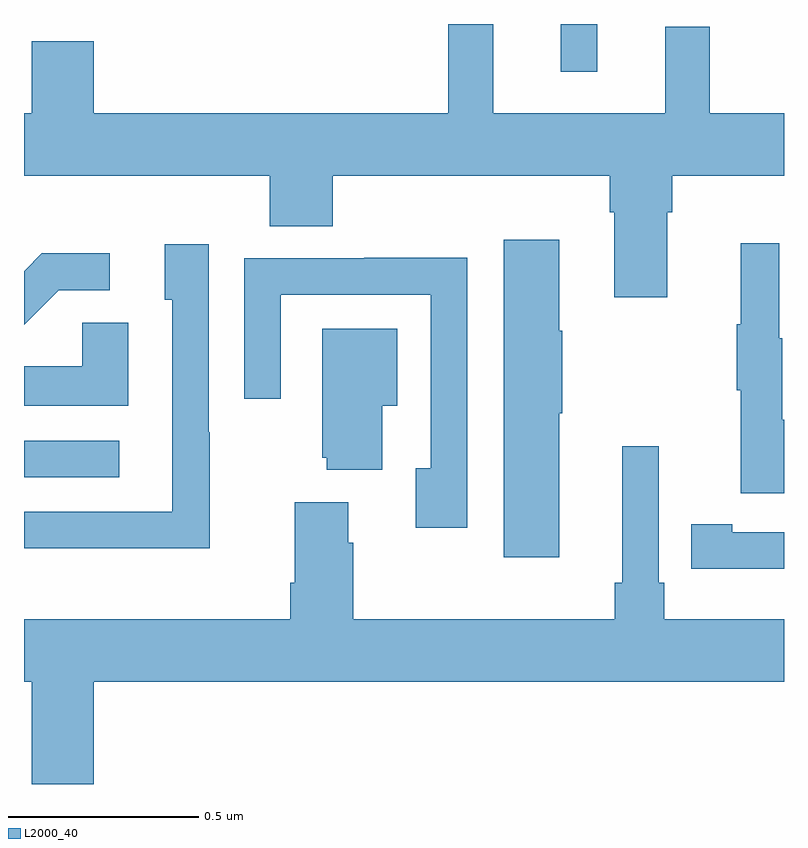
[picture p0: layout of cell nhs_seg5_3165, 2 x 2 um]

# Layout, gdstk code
import gdstk
lib = gdstk.Library(unit=1e-6, precision=1e-09)
def R(c, l, rs):  # rectangles x0, y0, x1, y1
    for r in rs: c.add(gdstk.rectangle(r[:2], r[2:], *l))
def P(c, l, *ps):  # polygons
    for p in ps: c.add(gdstk.Polygon(p, *l))
L2000_40 = (2000, 40)

nhs_seg5_3165 = lib.new_cell('nhs_seg5_3165')
R(nhs_seg5_3165, L2000_40, [(153,882.606,153.25,882.702), (154.412,883.674,154.509,883.799)])
P(nhs_seg5_3165, L2000_40, [(154.693,883.304),(154.706,883.304),(154.706,883.4),(155,883.4),(155,883.564),(154.805,883.564),(154.805,883.792),(154.688,883.792),(154.688,883.564),(154.235,883.564),(154.235,883.798),(154.117,883.798),(154.117,883.564),(153.184,883.564),(153.184,883.753),(153.02,883.753),(153.02,883.564),(153,883.564),(153,883.4),(153.647,883.4),(153.647,883.267),(153.812,883.267),(153.812,883.4),(154.541,883.4),(154.541,883.304),(154.553,883.304),(154.553,883.08),(154.693,883.08)],
  [(154.408,882.775),(154.416,882.775),(154.416,882.992),(154.408,882.992),(154.408,883.231),(154.262,883.231),(154.262,882.396),(154.408,882.396)],
  [(155,882.758),(154.996,882.758),(154.996,882.972),(154.988,882.972),(154.988,883.222),(154.886,883.222),(154.886,883.009),(154.875,883.009),(154.875,882.835),(154.886,882.835),(154.886,882.564),(155,882.564)],
  [(153.489,882.725),(153.486,882.725),(153.486,883.219),(153.371,883.219),(153.371,883.074),(153.39,883.074),(153.39,882.516),(153,882.516),(153,882.42),(153.025,882.42),(153.025,882.419),(153.489,882.419)],
  [(153.091,883.098),(153.226,883.098),(153.226,883.196),(153.047,883.196),(153,883.149),(153,883.007)],
  [(154.167,883.184),(153.895,883.184),(153.895,883.182),(153.579,883.182),(153.579,882.813),(153.675,882.813),(153.675,883.086),(154.071,883.086),(154.071,882.63),(154.031,882.63),(154.031,882.474),(154.167,882.474)],
  [(153.274,883.013),(153.153,883.013),(153.153,882.898),(153,882.898),(153,882.794),(153.274,882.794)],
  [(153.943,882.794),(153.982,882.794),(153.982,882.997),(153.785,882.997),(153.785,882.657),(153.797,882.657),(153.797,882.626),(153.943,882.626)],
  [(153.184,882.068),(155,882.068),(155,882.232),(154.685,882.232),(154.685,882.328),(154.671,882.328),(154.671,882.688),(154.574,882.688),(154.574,882.328),(154.555,882.328),(154.555,882.232),(153.866,882.232),(153.866,882.434),(153.853,882.434),(153.853,882.541),(153.713,882.541),(153.713,882.328),(153.701,882.328),(153.701,882.232),(153,882.232),(153,882.068),(153.02,882.068),(153.02,881.799),(153.184,881.799)],
  [(155,882.462),(154.864,882.462),(154.864,882.482),(154.756,882.482),(154.756,882.366),(154.864,882.366),(154.864,882.365),(155,882.365)])

lib.write_gds('nhs_seg5_3165.gds')
